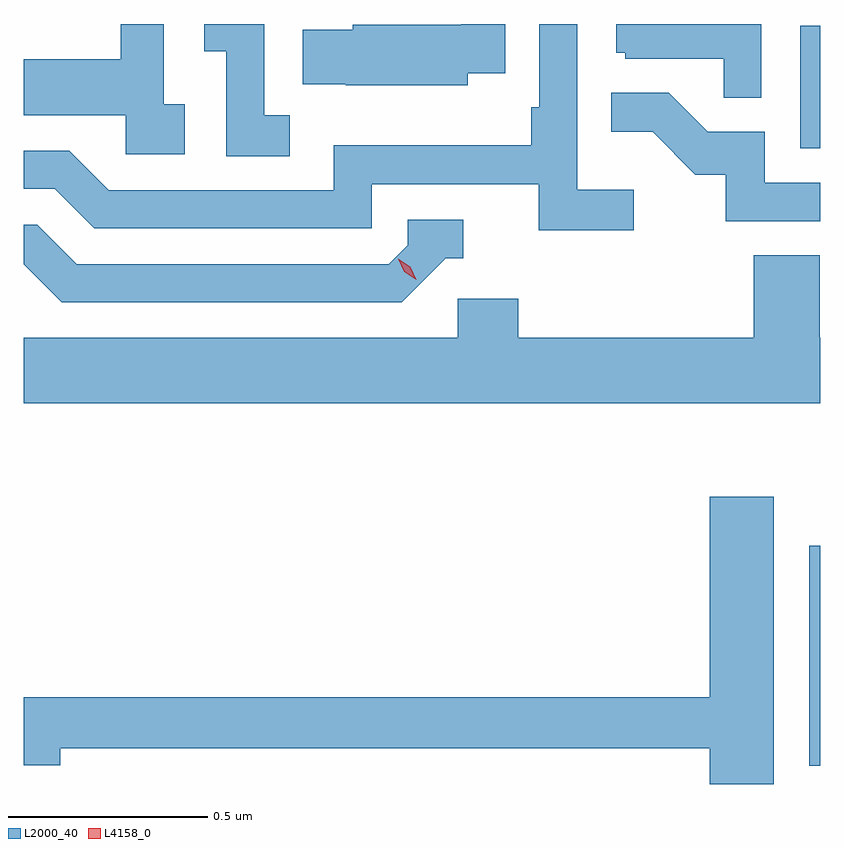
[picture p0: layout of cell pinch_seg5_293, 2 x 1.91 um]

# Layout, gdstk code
import gdstk
lib = gdstk.Library(unit=1e-6, precision=1e-09)
def R(c, l, rs):  # rectangles x0, y0, x1, y1
    for r in rs: c.add(gdstk.rectangle(r[:2], r[2:], *l))
def P(c, l, *ps):  # polygons
    for p in ps: c.add(gdstk.Polygon(p, *l))
L2000_40 = (2000, 40)
L4158_0 = (4158, 0)

pinch_seg5_293 = lib.new_cell('pinch_seg5_293')
R(pinch_seg5_293, L2000_40, [(930.396,910.462,930.424,911.014), (930.374,912.012,930.424,912.319)])
P(pinch_seg5_293, L2000_40, [(929.092,912.095),(929.028,912.095),(929.028,912.324),(928.877,912.324),(928.877,912.256),(928.932,912.256),(928.932,911.992),(929.092,911.992)],
  [(929.956,911.908),(929.814,911.908),(929.814,912.324),(929.718,912.324),(929.718,912.115),(929.698,912.115),(929.698,912.019),(929.202,912.019),(929.202,911.907),(928.638,911.907),(928.539,912.006),(928.424,912.006),(928.424,911.91),(928.502,911.91),(928.601,911.811),(929.298,911.811),(929.298,911.922),(929.717,911.922),(929.717,911.806),(929.956,911.806)],
  [(930.276,912.324),(929.912,912.324),(929.912,912.252),(929.934,912.252),(929.934,912.237),(930.181,912.237),(930.181,912.139),(930.276,912.139)],
  [(929.539,912.2),(929.633,912.2),(929.633,912.324),(929.522,912.324),(929.522,912.322),(929.25,912.322),(929.25,912.31),(929.125,912.31),(929.125,912.173),(929.233,912.173),(929.233,912.17),(929.539,912.17)],
  [(928.828,912.122),(928.776,912.122),(928.776,912.324),(928.668,912.324),(928.668,912.235),(928.424,912.235),(928.424,912.095),(928.68,912.095),(928.68,911.997),(928.828,911.997)],
  [(930.424,911.925),(930.285,911.925),(930.285,912.054),(930.141,912.054),(930.043,912.152),(929.899,912.152),(929.899,912.053),(930.003,912.053),(930.11,911.946),(930.187,911.946),(930.187,911.829),(930.424,911.829)],
  [(929.484,911.736),(929.527,911.736),(929.527,911.832),(929.388,911.832),(929.388,911.769),(929.34,911.721),(928.557,911.721),(928.458,911.82),(928.424,911.82),(928.424,911.721),(928.52,911.625),(929.373,911.625)],
  [(930.424,911.536),(930.422,911.536),(930.422,911.744),(930.257,911.744),(930.257,911.536),(929.666,911.536),(929.666,911.634),(929.514,911.634),(929.514,911.536),(928.424,911.536),(928.424,911.372),(930.424,911.372)],
  [(930.307,911.137),(930.146,911.137),(930.146,910.634),(928.424,910.634),(928.424,910.463),(928.516,910.463),(928.516,910.506),(930.146,910.506),(930.146,910.416),(930.307,910.416)])
P(pinch_seg5_293, L4158_0, [(929.409,911.682),(929.379,911.702),(929.364,911.735),(929.364,911.735),(929.364,911.735),(929.394,911.715),(929.41,911.682),(929.41,911.682)])

lib.write_gds('pinch_seg5_293.gds')
